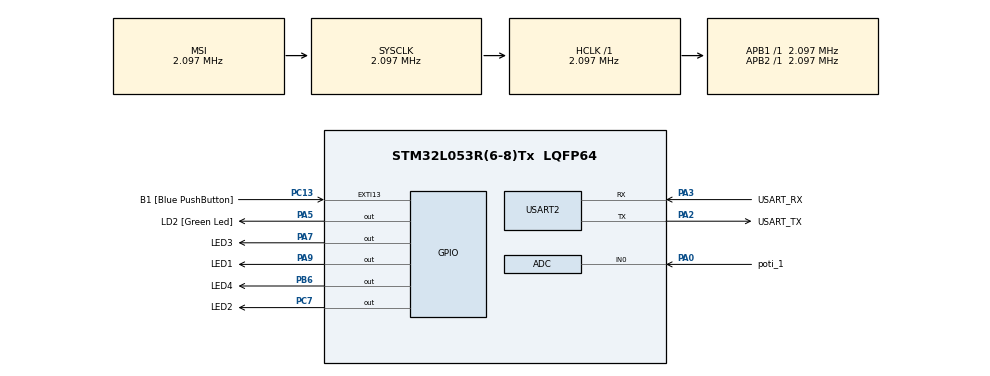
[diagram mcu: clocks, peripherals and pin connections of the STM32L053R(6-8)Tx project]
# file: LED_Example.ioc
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Mcu.Family=STM32L0
Mcu.Name=STM32L053R(6-8)Tx
Mcu.Package=LQFP64
PA0.GPIO_Label=poti_1
PA0.Mode=IN0
PA0.Signal=ADC_IN0
PA13.GPIO_Label=TMS
PA13.Signal=SYS_SWDIO
PA14.GPIO_Label=TCK
PA14.Signal=SYS_SWCLK
PA2.GPIO_Label=USART_TX
PA2.Mode=Asynchronous
PA2.Signal=USART2_TX
PA3.GPIO_Label=USART_RX
PA3.Mode=Asynchronous
PA3.Signal=USART2_RX
PA5.GPIO_Label=LD2 [Green Led]
PA5.PinState=GPIO_PIN_SET
PA5.Signal=GPIO_Output
PA7.GPIO_Label=LED3
PA7.PinState=GPIO_PIN_SET
PA7.Signal=GPIO_Output
PA9.GPIO_Label=LED1
PA9.PinState=GPIO_PIN_SET
PA9.Signal=GPIO_Output
PB6.GPIO_Label=LED4
PB6.PinState=GPIO_PIN_SET
PB6.Signal=GPIO_Output
PC13.GPIO_Label=B1 [Blue PushButton]
PC13.GPIO_ModeDefaultEXTI=GPIO_MODE_IT_FALLING
PC13.Signal=GPXTI13
PC14-OSC32_IN.Signal=RCC_OSC32_IN
PC15-OSC32_OUT.Signal=RCC_OSC32_OUT
PC7.GPIO_Label=LED2
PC7.GPIO_Speed=GPIO_SPEED_FREQ_LOW
PC7.PinState=GPIO_PIN_SET
PC7.Signal=GPIO_Output
PH0-OSC_IN.Signal=RCC_OSC_IN
PH1-OSC_OUT.Signal=RCC_OSC_OUT
ProjectManager.HeapSize=0x200
ProjectManager.StackSize=0x400
ProjectManager.TargetToolchain=TrueSTUDIO
RCC.AHBFreq_Value=2097000
RCC.APB1Freq_Value=2097000
RCC.APB1TimFreq_Value=2097000
RCC.APB2Freq_Value=2097000
RCC.APB2TimFreq_Value=2097000
RCC.HSE_VALUE=8000000
RCC.HSI16_VALUE=16000000
RCC.HSI48_VALUE=48000000
RCC.HSI_VALUE=16000000
RCC.LSEState=RCC_LSE_ON
RCC.LSE_VALUE=32768
RCC.MSI_VALUE=2097000
RCC.SYSCLKFreq_VALUE=2097000
RCC.VCOOutputFreq_Value=48000000
USART2.VirtualMode-Asynchronous=VM_ASYNC
board=NUCLEO-L053R8

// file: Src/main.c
/* USER CODE BEGIN Header */
/**
  ******************************************************************************
  * @file           : main.c
  * @brief          : Main program body
  ******************************************************************************
  * @attention
  *
  * <h2><center>&copy; Copyright (c) 2019 STMicroelectronics.
  * All rights reserved.</center></h2>
  *
  * This software component is licensed by ST under BSD 3-Clause license,
  * the "License"; You may not use this file except in compliance with the
  * License. You may obtain a copy of the License at:
  *                        opensource.org/licenses/BSD-3-Clause
  *
  ******************************************************************************
  */
/* USER CODE END Header */

#include "main.h"

/* USER CODE BEGIN Includes */
#include <stdio.h>
/* USER CODE END Includes */

ADC_HandleTypeDef hadc;

UART_HandleTypeDef huart2;

void SystemClock_Config(void);
static void MX_GPIO_Init(void);
static void MX_USART2_UART_Init(void);
static void MX_ADC_Init(void);

/* USER CODE BEGIN 0 */
// Prototype implementation
#ifdef __GNUC__
/* With GCC/RAISONANCE, small printf (option LD Linker->Libraries->Small printf
set to 'Yes') calls __io_putchar() */
#define PUTCHAR_PROTOTYPE int __io_putchar(int ch)
#else
#define PUTCHAR_PROTOTYPE int fputc(int ch, FILE *f)
#endif /* __GNUC__ */
/* USER CODE END 0 */

int main(void)
{

  /* MCU Configuration--------------------------------------------------------*/

  /* Reset of all peripherals, Initializes the Flash interface and the Systick. */
  HAL_Init();

  /* USER CODE BEGIN Init */
  int counter = 0;
  /* USER CODE END Init */

  /* Configure the system clock */
  SystemClock_Config();

  /* Initialize all configured peripherals */
  MX_GPIO_Init();
  MX_USART2_UART_Init();
  MX_ADC_Init();

  /* Infinite loop */
  while (1)
  {

    /* USER CODE BEGIN 3 */

	  printf("Anzahl Main Loops == %d \n\r", counter);
	  counter++;

	  HAL_ADC_Start(&hadc); //start ADC Conversation
	  HAL_ADC_PollForConversion(&hadc, 1000);
	  unsigned int Datafrompoti = HAL_ADC_GetValue(&hadc); //save Poti value in variable
	  HAL_ADC_Stop(&hadc); //stop ADC Conversation
	  printf("Potistand : %d \n\r", Datafrompoti);

	 if(Datafrompoti < 100){
		  HAL_GPIO_WritePin(LED1_GPIO_Port, LED1_Pin, GPIO_PIN_RESET); //Set Pin1 low
		  HAL_GPIO_WritePin(LED2_GPIO_Port, LED2_Pin, GPIO_PIN_RESET); //Set Pin1 low
		  HAL_GPIO_WritePin(LED3_GPIO_Port, LED3_Pin, GPIO_PIN_RESET); //Set Pin1 low
		  HAL_GPIO_WritePin(LED4_GPIO_Port, LED4_Pin, GPIO_PIN_RESET); //Set Pin1 low
	  }
  else if (Datafrompoti < 1000){
	  HAL_GPIO_WritePin(LED1_GPIO_Port, LED1_Pin, GPIO_PIN_SET); //Set Pin high
	  HAL_GPIO_WritePin(LED2_GPIO_Port, LED2_Pin, GPIO_PIN_RESET); //Set Pin low
	  HAL_GPIO_WritePin(LED3_GPIO_Port, LED3_Pin, GPIO_PIN_RESET); //Set Pin low
	  HAL_GPIO_WritePin(LED4_GPIO_Port, LED4_Pin, GPIO_PIN_RESET); //Set Pin low
  }
  else if (Datafrompoti < 2000){
	  HAL_GPIO_WritePin(LED1_GPIO_Port, LED1_Pin, GPIO_PIN_SET); //Set Pin high
	  HAL_GPIO_WritePin(LED2_GPIO_Port, LED2_Pin, GPIO_PIN_SET); //Set Pin high
	  HAL_GPIO_WritePin(LED3_GPIO_Port, LED3_Pin, GPIO_PIN_RESET); //Set Pin low
	  HAL_GPIO_WritePin(LED4_GPIO_Port, LED4_Pin, GPIO_PIN_RESET); //Set Pin low
  }
  else if (Datafrompoti < 3000){
	  HAL_GPIO_WritePin(LED1_GPIO_Port, LED1_Pin, GPIO_PIN_SET); //Set Pin high
	  HAL_GPIO_WritePin(LED2_GPIO_Port, LED2_Pin, GPIO_PIN_SET); //Set Pin high
	  HAL_GPIO_WritePin(LED3_GPIO_Port, LED3_Pin, GPIO_PIN_SET); //Set Pin high
	  HAL_GPIO_WritePin(LED4_GPIO_Port, LED4_Pin, GPIO_PIN_RESET); //Set Pin low
  }
  else if (Datafrompoti < 4096){
	  HAL_GPIO_WritePin(LED1_GPIO_Port, LED1_Pin, GPIO_PIN_SET); //Set Pin high
	  HAL_GPIO_WritePin(LED2_GPIO_Port, LED2_Pin, GPIO_PIN_SET); //Set Pin high
	  HAL_GPIO_WritePin(LED3_GPIO_Port, LED3_Pin, GPIO_PIN_SET); //Set Pin high
	  HAL_GPIO_WritePin(LED4_GPIO_Port, LED4_Pin, GPIO_PIN_SET); //Set Pin high
  }

  }
  /* USER CODE END 3 */
}

void SystemClock_Config(void)
{
  RCC_OscInitTypeDef RCC_OscInitStruct = {0};
  RCC_ClkInitTypeDef RCC_ClkInitStruct = {0};
  RCC_PeriphCLKInitTypeDef PeriphClkInit = {0};

  /** Configure the main internal regulator output voltage
  */
  __HAL_PWR_VOLTAGESCALING_CONFIG(PWR_REGULATOR_VOLTAGE_SCALE1);
  /** Initializes the CPU, AHB and APB busses clocks
  */
  RCC_OscInitStruct.OscillatorType = RCC_OSCILLATORTYPE_MSI;
  RCC_OscInitStruct.MSIState = RCC_MSI_ON;
  RCC_OscInitStruct.MSICalibrationValue = 0;
  RCC_OscInitStruct.MSIClockRange = RCC_MSIRANGE_5;
  RCC_OscInitStruct.PLL.PLLState = RCC_PLL_NONE;
  if (HAL_RCC_OscConfig(&RCC_OscInitStruct) != HAL_OK)
  {
    Error_Handler();
  }
  /** Initializes the CPU, AHB and APB busses clocks
  */
  RCC_ClkInitStruct.ClockType = RCC_CLOCKTYPE_HCLK|RCC_CLOCKTYPE_SYSCLK
                              |RCC_CLOCKTYPE_PCLK1|RCC_CLOCKTYPE_PCLK2;
  RCC_ClkInitStruct.SYSCLKSource = RCC_SYSCLKSOURCE_MSI;
  RCC_ClkInitStruct.AHBCLKDivider = RCC_SYSCLK_DIV1;
  RCC_ClkInitStruct.APB1CLKDivider = RCC_HCLK_DIV1;
  RCC_ClkInitStruct.APB2CLKDivider = RCC_HCLK_DIV1;

  if (HAL_RCC_ClockConfig(&RCC_ClkInitStruct, FLASH_LATENCY_0) != HAL_OK)
  {
    Error_Handler();
  }
  PeriphClkInit.PeriphClockSelection = RCC_PERIPHCLK_USART2;
  PeriphClkInit.Usart2ClockSelection = RCC_USART2CLKSOURCE_PCLK1;
  if (HAL_RCCEx_PeriphCLKConfig(&PeriphClkInit) != HAL_OK)
  {
    Error_Handler();
  }
}

static void MX_ADC_Init(void)
{

  ADC_ChannelConfTypeDef sConfig = {0};

  /** Configure the global features of the ADC (Clock, Resolution, Data Alignment and number of conversion)
  */
  hadc.Instance = ADC1;
  hadc.Init.OversamplingMode = DISABLE;
  hadc.Init.ClockPrescaler = ADC_CLOCK_SYNC_PCLK_DIV1;
  hadc.Init.Resolution = ADC_RESOLUTION_12B;
  hadc.Init.SamplingTime = ADC_SAMPLETIME_1CYCLE_5;
  hadc.Init.ScanConvMode = ADC_SCAN_DIRECTION_FORWARD;
  hadc.Init.DataAlign = ADC_DATAALIGN_RIGHT;
  hadc.Init.ContinuousConvMode = DISABLE;
  hadc.Init.DiscontinuousConvMode = DISABLE;
  hadc.Init.ExternalTrigConvEdge = ADC_EXTERNALTRIGCONVEDGE_NONE;
  hadc.Init.ExternalTrigConv = ADC_SOFTWARE_START;
  hadc.Init.DMAContinuousRequests = DISABLE;
  hadc.Init.EOCSelection = ADC_EOC_SINGLE_CONV;
  hadc.Init.Overrun = ADC_OVR_DATA_PRESERVED;
  hadc.Init.LowPowerAutoWait = DISABLE;
  hadc.Init.LowPowerFrequencyMode = DISABLE;
  hadc.Init.LowPowerAutoPowerOff = DISABLE;
  if (HAL_ADC_Init(&hadc) != HAL_OK)
  {
    Error_Handler();
  }
  /** Configure for the selected ADC regular channel to be converted.
  */
  sConfig.Channel = ADC_CHANNEL_0;
  sConfig.Rank = ADC_RANK_CHANNEL_NUMBER;
  if (HAL_ADC_ConfigChannel(&hadc, &sConfig) != HAL_OK)
  {
    Error_Handler();
  }

}

static void MX_USART2_UART_Init(void)
{

  huart2.Instance = USART2;
  huart2.Init.BaudRate = 115200;
  huart2.Init.WordLength = UART_WORDLENGTH_8B;
  huart2.Init.StopBits = UART_STOPBITS_1;
  huart2.Init.Parity = UART_PARITY_NONE;
  huart2.Init.Mode = UART_MODE_TX_RX;
  huart2.Init.HwFlowCtl = UART_HWCONTROL_NONE;
  huart2.Init.OverSampling = UART_OVERSAMPLING_16;
  huart2.Init.OneBitSampling = UART_ONE_BIT_SAMPLE_DISABLE;
  huart2.AdvancedInit.AdvFeatureInit = UART_ADVFEATURE_NO_INIT;
  if (HAL_UART_Init(&huart2) != HAL_OK)
  {
    Error_Handler();
  }

}

static void MX_GPIO_Init(void)
{
  GPIO_InitTypeDef GPIO_InitStruct = {0};

  /* GPIO Ports Clock Enable */
  __HAL_RCC_GPIOC_CLK_ENABLE();
  __HAL_RCC_GPIOH_CLK_ENABLE();
  __HAL_RCC_GPIOA_CLK_ENABLE();
  __HAL_RCC_GPIOB_CLK_ENABLE();

  /*Configure GPIO pin Output Level */
  HAL_GPIO_WritePin(GPIOA, LD2_Pin|LED3_Pin|LED1_Pin, GPIO_PIN_SET);

  /*Configure GPIO pin Output Level */
  HAL_GPIO_WritePin(LED2_GPIO_Port, LED2_Pin, GPIO_PIN_SET);

  /*Configure GPIO pin Output Level */
  HAL_GPIO_WritePin(LED4_GPIO_Port, LED4_Pin, GPIO_PIN_SET);

  /*Configure GPIO pin : B1_Pin */
  GPIO_InitStruct.Pin = B1_Pin;
  GPIO_InitStruct.Mode = GPIO_MODE_IT_FALLING;
  GPIO_InitStruct.Pull = GPIO_NOPULL;
  HAL_GPIO_Init(B1_GPIO_Port, &GPIO_InitStruct);

  /*Configure GPIO pins : LD2_Pin LED3_Pin LED1_Pin */
  GPIO_InitStruct.Pin = LD2_Pin|LED3_Pin|LED1_Pin;
  GPIO_InitStruct.Mode = GPIO_MODE_OUTPUT_PP;
  GPIO_InitStruct.Pull = GPIO_NOPULL;
  GPIO_InitStruct.Speed = GPIO_SPEED_FREQ_LOW;
  HAL_GPIO_Init(GPIOA, &GPIO_InitStruct);

  /*Configure GPIO pin : LED2_Pin */
  GPIO_InitStruct.Pin = LED2_Pin;
  GPIO_InitStruct.Mode = GPIO_MODE_OUTPUT_PP;
  GPIO_InitStruct.Pull = GPIO_NOPULL;
  GPIO_InitStruct.Speed = GPIO_SPEED_FREQ_LOW;
  HAL_GPIO_Init(LED2_GPIO_Port, &GPIO_InitStruct);

  /*Configure GPIO pin : LED4_Pin */
  GPIO_InitStruct.Pin = LED4_Pin;
  GPIO_InitStruct.Mode = GPIO_MODE_OUTPUT_PP;
  GPIO_InitStruct.Pull = GPIO_NOPULL;
  GPIO_InitStruct.Speed = GPIO_SPEED_FREQ_LOW;
  HAL_GPIO_Init(LED4_GPIO_Port, &GPIO_InitStruct);

}

/* USER CODE BEGIN 4 */
/**
* @brief Retargets the C library printf function to the USART.
* @param None
* @retval None
*/
PUTCHAR_PROTOTYPE
{
/* Place your implementation of fputc here */
/* e.g. write a character to the USART2 and Loop until the end of transmission */
HAL_UART_Transmit(&huart2, (uint8_t *)&ch, 1, 0xFFFF);
return ch;
}
/* USER CODE END 4 */

void Error_Handler(void)
{
}

/************************ (C) COPYRIGHT STMicroelectronics *****END OF FILE****/
